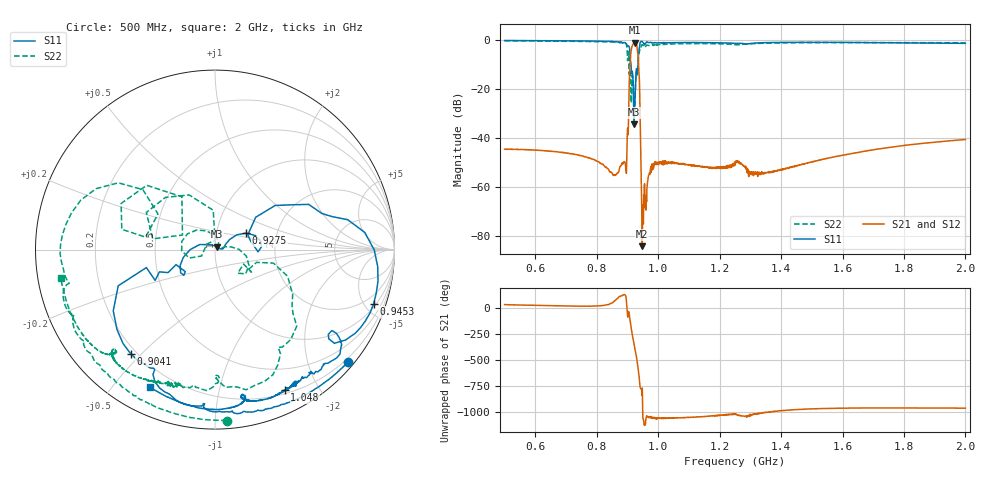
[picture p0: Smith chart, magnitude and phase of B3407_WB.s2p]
! Matrix data file written by TouchstoneData, EPCOS AG
! FILENAME: "newformat_AK18A.PCB7.WB.s2p"
! COMMENT: "(AK18A.PCB7.WB.s2p)"
! INFO: nport=2, nfreq=1601
! DATE: "Fri Apr 18 08:52:00 2014"
! USER: "Lynn Zhu"
! port | pin | signal
!  1  |  2  |  IN
!  2  |  5  |  OUT
# MHZ S MA R 50
! freq  magS11 angS11  magS21 angS21  magS12 angS12  magS22 angS22
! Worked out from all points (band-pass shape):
!   1601 points, 500 MHz to 2 GHz, reference 50 ohm
!   highest |S21| = -1.20 dB at 923.8 MHz (marker M1); lowest = -84.1 dB at 948.1 MHz (marker M2)
!   |S21| within 3 dB of the highest: 912.6 MHz to 932.1 MHz (19.54 MHz wide, 2.12 % of centre)
!   lowest |S11| = -34.5 dB at 920.9 MHz (marker M3), VSWR 1.04, Z = 50.9 + j1.7 ohm
!   |S11| at or under -10 dB: 911 MHz to 934.3 MHz (23.3 MHz wide, 2.53 % of centre)
!   |S22| runs from -31.7 to -0.4 dB; largest |S21 - S12| = 0.0035
!   S11 on the Smith chart (normalised r, x): 500 MHz: 0.12, -2.73; 904.1 MHz: 0.18, -0.46; 927.5 MHz: 1.39, +0.27; 945.3 MHz: 1.22, -5.76; 1.048 GHz: 0.24, -1.59; 2 GHz: 0.11, -0.63
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500  0.9713 -40.2  0.005909 32.6  0.005892 32.6  0.9548 -86.1
750.3125  0.949 -61.4  0.004319 17.5  0.004307 17.8  0.9278 -118.6
864.6875  0.9201 -82.8  0.001848 86.9  0.001837 86.9  0.8997 -147.3
890.9375  0.8774 -101.3  0.003273 129.1  0.003255 129.2  0.8585 -175.6
897.5  0.8094 -114.4  0.003429 18.6  0.003413 18.6  0.7447 152.9
904.0625  0.7465 -129.1  0.04286 -34.2  0.04274 -34.1  0.5228 136.7
912.5  0.2328 -158.9  0.6103 159.4  0.6081 159.4  0.05515 145.8
920.9375  0.01887 62.0  0.8568 23.2  0.8536 23.3  0.04365 63.8
923.75  0.04767 9.2  0.8711 -18.4  0.8679 -18.3  0.03267 13.6
927.5  0.197 27.8  0.8376 -77.4  0.8346 -77.3  0.1782 -11.7
935  0.4156 36.3  0.4333 129.5  0.4317 129.5  0.3342 -13.0
945.3125  0.934 -18.9  0.001048 -61.1  0.001038 -61.0  0.769 -65.3
948.125  0.9203 -28.1  6.239e-05 -48.6  5.831e-05 -48.2  0.8002 -77.5
954.6875  0.8049 -38.1  0.001005 -44.2  0.001011 -44.3  0.7166 -89.3
973.4375  0.8917 -48.6  0.001808 35.3  0.001801 35.2  0.7824 -100.3
1000.625  0.8659 -56.3  0.003252 22.8  0.003243 22.7  0.7945 -110.3
1048.438  0.8737 -63.6  0.003076 22.8  0.003069 22.8  0.8224 -118.8
1250  0.8512 -78.9  0.002907 64.3  0.002896 64.5  0.797 -135.6
1331.562  0.8683 -80.2  0.00178 67.9  0.001775 67.9  0.85 -137.3
1500.312  0.8908 -90.0  0.003243 110.9  0.003218 111.0  0.8756 -147.5
1750.625  0.8728 -103.0  0.006391 120.2  0.006344 120.4  0.8767 -159.7
2000  0.8483 -115.3  0.009306 118.4  0.009253 118.4  0.872 -169.7
